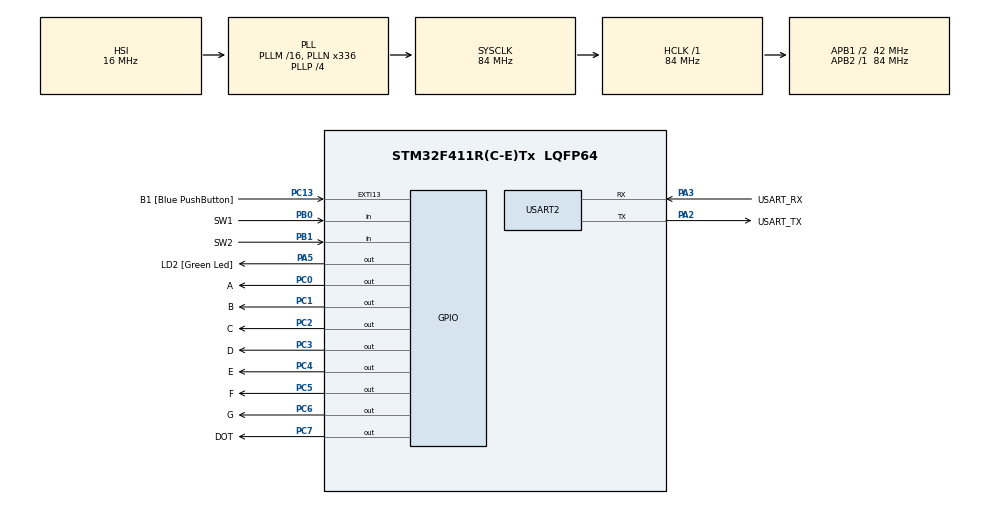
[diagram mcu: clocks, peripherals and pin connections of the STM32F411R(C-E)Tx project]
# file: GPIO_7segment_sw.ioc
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Mcu.Family=STM32F4
Mcu.Name=STM32F411R(C-E)Tx
Mcu.Package=LQFP64
NVIC.PriorityGroup=NVIC_PRIORITYGROUP_0
PA13.GPIO_Label=TMS
PA13.Mode=Serial_Wire
PA13.Signal=SYS_JTMS-SWDIO
PA14.GPIO_Label=TCK
PA14.Mode=Serial_Wire
PA14.Signal=SYS_JTCK-SWCLK
PA2.GPIO_Label=USART_TX
PA2.Mode=Asynchronous
PA2.Signal=USART2_TX
PA3.GPIO_Label=USART_RX
PA3.Mode=Asynchronous
PA3.Signal=USART2_RX
PA5.GPIO_Label=LD2 [Green Led]
PA5.Signal=GPIO_Output
PB0.GPIO_Label=SW1
PB0.Signal=GPIO_Input
PB1.GPIO_Label=SW2
PB1.Signal=GPIO_Input
PB3.GPIO_Label=SWO
PB3.Signal=SYS_JTDO-SWO
PC0.GPIO_Label=A
PC0.Signal=GPIO_Output
PC1.GPIO_Label=B
PC1.Signal=GPIO_Output
PC13-ANTI_TAMP.GPIO_Label=B1 [Blue PushButton]
PC13-ANTI_TAMP.GPIO_ModeDefaultEXTI=GPIO_MODE_IT_FALLING
PC13-ANTI_TAMP.Signal=GPXTI13
PC14-OSC32_IN.Mode=LSE-External-Oscillator
PC14-OSC32_IN.Signal=RCC_OSC32_IN
PC15-OSC32_OUT.Mode=LSE-External-Oscillator
PC15-OSC32_OUT.Signal=RCC_OSC32_OUT
PC2.GPIO_Label=C
PC2.Signal=GPIO_Output
PC3.GPIO_Label=D
PC3.Signal=GPIO_Output
PC4.GPIO_Label=E
PC4.Signal=GPIO_Output
PC5.GPIO_Label=F
PC5.Signal=GPIO_Output
PC6.GPIO_Label=G
PC6.Signal=GPIO_Output
PC7.GPIO_Label=DOT
PC7.Signal=GPIO_Output
PH0\ -\ OSC_IN.Mode=HSE-External-Clock-Source
PH0\ -\ OSC_IN.Signal=RCC_OSC_IN
PH1\ -\ OSC_OUT.Mode=HSE-External-Clock-Source
PH1\ -\ OSC_OUT.Signal=RCC_OSC_OUT
ProjectManager.HeapSize=0x200
ProjectManager.StackSize=0x400
ProjectManager.TargetToolchain=STM32CubeIDE
RCC.48MHZClocksFreq_Value=84000000
RCC.AHBFreq_Value=84000000
RCC.APB1CLKDivider=RCC_HCLK_DIV2
RCC.APB1Freq_Value=42000000
RCC.APB1TimFreq_Value=84000000
RCC.APB2Freq_Value=84000000
RCC.APB2TimFreq_Value=84000000
RCC.CortexFreq_Value=84000000
RCC.FLatency-AdvancedSettings=FLASH_LATENCY_2
RCC.HCLKFreq_Value=84000000
RCC.HSE_VALUE=8000000
RCC.HSI_VALUE=16000000
RCC.PLLN=336
RCC.PLLP=RCC_PLLP_DIV4
RCC.SYSCLKFreq_VALUE=84000000
RCC.SYSCLKSource=RCC_SYSCLKSOURCE_PLLCLK
RCC.VCOOutputFreq_Value=336000000
USART2.VirtualMode=VM_ASYNC
board=NUCLEO-F411RE

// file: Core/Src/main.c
/* USER CODE BEGIN Header */
/**
  ******************************************************************************
  * @file           : main.c
  * @brief          : Main program body
  ******************************************************************************
  * @attention
  *
  * Copyright (c) 2025 STMicroelectronics.
  * All rights reserved.
  *
  * This software is licensed under terms that can be found in the LICENSE file
  * in the root directory of this software component.
  * If no LICENSE file comes with this software, it is provided AS-IS.
  *
  ******************************************************************************
  */
/* USER CODE END Header */
#include "main.h"

UART_HandleTypeDef huart2;

void SystemClock_Config(void);
static void MX_GPIO_Init(void);
static void MX_USART2_UART_Init(void);
/* USER CODE BEGIN PFP */
void ZeroToNine(void);
void NineToZero(void);
/* USER CODE END PFP */

int main(void)
{

  /* MCU Configuration--------------------------------------------------------*/

  /* Reset of all peripherals, Initializes the Flash interface and the Systick. */
  HAL_Init();

  /* Configure the system clock */
  SystemClock_Config();

  /* Initialize all configured peripherals */
  MX_GPIO_Init();
  MX_USART2_UART_Init();

  /* Infinite loop */
  /* USER CODE BEGIN WHILE */
  while (1)
  {
	  if(HAL_GPIO_ReadPin(GPIOB, SW1_Pin)==GPIO_PIN_SET)
		  ZeroToNine();
	  else if(HAL_GPIO_ReadPin(GPIOB, SW2_Pin)==GPIO_PIN_SET)
		  NineToZero();
	  else
		  HAL_GPIO_WritePin(GPIOC, A_Pin | B_Pin | C_Pin | D_Pin | E_Pin | F_Pin | G_Pin | DOT_Pin, GPIO_PIN_RESET);
    /* USER CODE END WHILE */

  }
}

void SystemClock_Config(void)
{
  RCC_OscInitTypeDef RCC_OscInitStruct = {0};
  RCC_ClkInitTypeDef RCC_ClkInitStruct = {0};

  /** Configure the main internal regulator output voltage
  */
  __HAL_RCC_PWR_CLK_ENABLE();
  __HAL_PWR_VOLTAGESCALING_CONFIG(PWR_REGULATOR_VOLTAGE_SCALE1);

  /** Initializes the RCC Oscillators according to the specified parameters
  * in the RCC_OscInitTypeDef structure.
  */
  RCC_OscInitStruct.OscillatorType = RCC_OSCILLATORTYPE_HSI;
  RCC_OscInitStruct.HSIState = RCC_HSI_ON;
  RCC_OscInitStruct.HSICalibrationValue = RCC_HSICALIBRATION_DEFAULT;
  RCC_OscInitStruct.PLL.PLLState = RCC_PLL_ON;
  RCC_OscInitStruct.PLL.PLLSource = RCC_PLLSOURCE_HSI;
  RCC_OscInitStruct.PLL.PLLM = 16;
  RCC_OscInitStruct.PLL.PLLN = 336;
  RCC_OscInitStruct.PLL.PLLP = RCC_PLLP_DIV4;
  RCC_OscInitStruct.PLL.PLLQ = 4;
  if (HAL_RCC_OscConfig(&RCC_OscInitStruct) != HAL_OK)
  {
    Error_Handler();
  }

  /** Initializes the CPU, AHB and APB buses clocks
  */
  RCC_ClkInitStruct.ClockType = RCC_CLOCKTYPE_HCLK|RCC_CLOCKTYPE_SYSCLK
                              |RCC_CLOCKTYPE_PCLK1|RCC_CLOCKTYPE_PCLK2;
  RCC_ClkInitStruct.SYSCLKSource = RCC_SYSCLKSOURCE_PLLCLK;
  RCC_ClkInitStruct.AHBCLKDivider = RCC_SYSCLK_DIV1;
  RCC_ClkInitStruct.APB1CLKDivider = RCC_HCLK_DIV2;
  RCC_ClkInitStruct.APB2CLKDivider = RCC_HCLK_DIV1;

  if (HAL_RCC_ClockConfig(&RCC_ClkInitStruct, FLASH_LATENCY_2) != HAL_OK)
  {
    Error_Handler();
  }
}

static void MX_USART2_UART_Init(void)
{

  huart2.Instance = USART2;
  huart2.Init.BaudRate = 115200;
  huart2.Init.WordLength = UART_WORDLENGTH_8B;
  huart2.Init.StopBits = UART_STOPBITS_1;
  huart2.Init.Parity = UART_PARITY_NONE;
  huart2.Init.Mode = UART_MODE_TX_RX;
  huart2.Init.HwFlowCtl = UART_HWCONTROL_NONE;
  huart2.Init.OverSampling = UART_OVERSAMPLING_16;
  if (HAL_UART_Init(&huart2) != HAL_OK)
  {
    Error_Handler();
  }

}

static void MX_GPIO_Init(void)
{
  GPIO_InitTypeDef GPIO_InitStruct = {0};

  /* GPIO Ports Clock Enable */
  __HAL_RCC_GPIOC_CLK_ENABLE();
  __HAL_RCC_GPIOH_CLK_ENABLE();
  __HAL_RCC_GPIOA_CLK_ENABLE();
  __HAL_RCC_GPIOB_CLK_ENABLE();

  /*Configure GPIO pin Output Level */
  HAL_GPIO_WritePin(GPIOC, A_Pin|B_Pin|C_Pin|D_Pin
                          |E_Pin|F_Pin|G_Pin|DOT_Pin, GPIO_PIN_RESET);

  /*Configure GPIO pin Output Level */
  HAL_GPIO_WritePin(LD2_GPIO_Port, LD2_Pin, GPIO_PIN_RESET);

  /*Configure GPIO pin : B1_Pin */
  GPIO_InitStruct.Pin = B1_Pin;
  GPIO_InitStruct.Mode = GPIO_MODE_IT_FALLING;
  GPIO_InitStruct.Pull = GPIO_NOPULL;
  HAL_GPIO_Init(B1_GPIO_Port, &GPIO_InitStruct);

  /*Configure GPIO pins : A_Pin B_Pin C_Pin D_Pin
                           E_Pin F_Pin G_Pin DOT_Pin */
  GPIO_InitStruct.Pin = A_Pin|B_Pin|C_Pin|D_Pin
                          |E_Pin|F_Pin|G_Pin|DOT_Pin;
  GPIO_InitStruct.Mode = GPIO_MODE_OUTPUT_PP;
  GPIO_InitStruct.Pull = GPIO_NOPULL;
  GPIO_InitStruct.Speed = GPIO_SPEED_FREQ_LOW;
  HAL_GPIO_Init(GPIOC, &GPIO_InitStruct);

  /*Configure GPIO pin : LD2_Pin */
  GPIO_InitStruct.Pin = LD2_Pin;
  GPIO_InitStruct.Mode = GPIO_MODE_OUTPUT_PP;
  GPIO_InitStruct.Pull = GPIO_NOPULL;
  GPIO_InitStruct.Speed = GPIO_SPEED_FREQ_LOW;
  HAL_GPIO_Init(LD2_GPIO_Port, &GPIO_InitStruct);

  /*Configure GPIO pins : SW1_Pin SW2_Pin */
  GPIO_InitStruct.Pin = SW1_Pin|SW2_Pin;
  GPIO_InitStruct.Mode = GPIO_MODE_INPUT;
  GPIO_InitStruct.Pull = GPIO_NOPULL;
  HAL_GPIO_Init(GPIOB, &GPIO_InitStruct);

}

/* USER CODE BEGIN 4 */
void ZeroToNine(void)
{
	  //0 Display
	  HAL_GPIO_WritePin(GPIOC, A_Pin | B_Pin | C_Pin | D_Pin | E_Pin | F_Pin | G_Pin | DOT_Pin, GPIO_PIN_RESET);
	  HAL_GPIO_WritePin(GPIOC, A_Pin | B_Pin | C_Pin | D_Pin | E_Pin | F_Pin, GPIO_PIN_SET);
	  HAL_Delay(1000);
	  //1 Display
	  HAL_GPIO_WritePin(GPIOC, A_Pin | B_Pin | C_Pin | D_Pin | E_Pin | F_Pin | G_Pin | DOT_Pin, GPIO_PIN_RESET);
	  HAL_GPIO_WritePin(GPIOC, B_Pin | C_Pin, GPIO_PIN_SET);
	  HAL_Delay(1000);
	  //2 Display
	  HAL_GPIO_WritePin(GPIOC, A_Pin | B_Pin | C_Pin | D_Pin | E_Pin | F_Pin | G_Pin | DOT_Pin, GPIO_PIN_RESET);
	  HAL_GPIO_WritePin(GPIOC, A_Pin | B_Pin | D_Pin | E_Pin | G_Pin, GPIO_PIN_SET);
	  HAL_Delay(1000);
	  //3 Display
	  HAL_GPIO_WritePin(GPIOC, A_Pin | B_Pin | C_Pin | D_Pin | E_Pin | F_Pin | G_Pin | DOT_Pin, GPIO_PIN_RESET);
	  HAL_GPIO_WritePin(GPIOC, A_Pin | B_Pin | C_Pin | D_Pin | G_Pin, GPIO_PIN_SET);
	  HAL_Delay(1000);
	  //4 Display
	  HAL_GPIO_WritePin(GPIOC, A_Pin | B_Pin | C_Pin | D_Pin | E_Pin | F_Pin | G_Pin | DOT_Pin, GPIO_PIN_RESET);
	  HAL_GPIO_WritePin(GPIOC, B_Pin | C_Pin | F_Pin | G_Pin, GPIO_PIN_SET);
	  HAL_Delay(1000);
	  //5 Display
	  HAL_GPIO_WritePin(GPIOC, A_Pin | B_Pin | C_Pin | D_Pin | E_Pin | F_Pin | G_Pin | DOT_Pin, GPIO_PIN_RESET);
	  HAL_GPIO_WritePin(GPIOC, A_Pin | C_Pin | D_Pin | F_Pin | G_Pin, GPIO_PIN_SET);
	  HAL_Delay(1000);
	  //6 Display
	  HAL_GPIO_WritePin(GPIOC, A_Pin | B_Pin | C_Pin | D_Pin | E_Pin | F_Pin | G_Pin | DOT_Pin, GPIO_PIN_RESET);
	  HAL_GPIO_WritePin(GPIOC, A_Pin | C_Pin | D_Pin | E_Pin | F_Pin | G_Pin, GPIO_PIN_SET);
	  HAL_Delay(1000);
	  //7 Display
	  HAL_GPIO_WritePin(GPIOC, A_Pin | B_Pin | C_Pin | D_Pin | E_Pin | F_Pin | G_Pin | DOT_Pin, GPIO_PIN_RESET);
	  HAL_GPIO_WritePin(GPIOC, A_Pin | B_Pin | C_Pin, GPIO_PIN_SET);
	  HAL_Delay(1000);
	  //8 Display
	  HAL_GPIO_WritePin(GPIOC, A_Pin | B_Pin | C_Pin | D_Pin | E_Pin | F_Pin | G_Pin | DOT_Pin, GPIO_PIN_RESET);
	  HAL_GPIO_WritePin(GPIOC, A_Pin | B_Pin | C_Pin | D_Pin | E_Pin | F_Pin | G_Pin, GPIO_PIN_SET);
	  HAL_Delay(1000);
	  //9 Display
	  HAL_GPIO_WritePin(GPIOC, A_Pin | B_Pin | C_Pin | D_Pin | E_Pin | F_Pin | G_Pin | DOT_Pin, GPIO_PIN_RESET);
	  HAL_GPIO_WritePin(GPIOC, A_Pin | B_Pin | C_Pin | F_Pin | G_Pin, GPIO_PIN_SET);
	  HAL_Delay(1000);
}

void NineToZero(void)
{
	  //9 Display
	  HAL_GPIO_WritePin(GPIOC, A_Pin | B_Pin | C_Pin | D_Pin | E_Pin | F_Pin | G_Pin | DOT_Pin, GPIO_PIN_RESET);
	  HAL_GPIO_WritePin(GPIOC, A_Pin | B_Pin | C_Pin | F_Pin | G_Pin, GPIO_PIN_SET);
	  HAL_Delay(1000);
	  //8 Display
	  HAL_GPIO_WritePin(GPIOC, A_Pin | B_Pin | C_Pin | D_Pin | E_Pin | F_Pin | G_Pin | DOT_Pin, GPIO_PIN_RESET);
	  HAL_GPIO_WritePin(GPIOC, A_Pin | B_Pin | C_Pin | D_Pin | E_Pin | F_Pin | G_Pin, GPIO_PIN_SET);
	  HAL_Delay(1000);
	  //7 Display
	  HAL_GPIO_WritePin(GPIOC, A_Pin | B_Pin | C_Pin | D_Pin | E_Pin | F_Pin | G_Pin | DOT_Pin, GPIO_PIN_RESET);
	  HAL_GPIO_WritePin(GPIOC, A_Pin | B_Pin | C_Pin, GPIO_PIN_SET);
	  HAL_Delay(1000);
	  //6 Display
	  HAL_GPIO_WritePin(GPIOC, A_Pin | B_Pin | C_Pin | D_Pin | E_Pin | F_Pin | G_Pin | DOT_Pin, GPIO_PIN_RESET);
	  HAL_GPIO_WritePin(GPIOC, A_Pin | C_Pin | D_Pin | E_Pin | F_Pin | G_Pin, GPIO_PIN_SET);
	  HAL_Delay(1000);
	  //5 Display
	  HAL_GPIO_WritePin(GPIOC, A_Pin | B_Pin | C_Pin | D_Pin | E_Pin | F_Pin | G_Pin | DOT_Pin, GPIO_PIN_RESET);
	  HAL_GPIO_WritePin(GPIOC, A_Pin | C_Pin | D_Pin | F_Pin | G_Pin, GPIO_PIN_SET);
	  HAL_Delay(1000);
	  //4 Display
	  HAL_GPIO_WritePin(GPIOC, A_Pin | B_Pin | C_Pin | D_Pin | E_Pin | F_Pin | G_Pin | DOT_Pin, GPIO_PIN_RESET);
	  HAL_GPIO_WritePin(GPIOC, B_Pin | C_Pin | F_Pin | G_Pin, GPIO_PIN_SET);
	  HAL_Delay(1000);
	  //3 Display
	  HAL_GPIO_WritePin(GPIOC, A_Pin | B_Pin | C_Pin | D_Pin | E_Pin | F_Pin | G_Pin | DOT_Pin, GPIO_PIN_RESET);
	  HAL_GPIO_WritePin(GPIOC, A_Pin | B_Pin | C_Pin | D_Pin | G_Pin, GPIO_PIN_SET);
	  HAL_Delay(1000);
	  //2 Display
	  HAL_GPIO_WritePin(GPIOC, A_Pin | B_Pin | C_Pin | D_Pin | E_Pin | F_Pin | G_Pin | DOT_Pin, GPIO_PIN_RESET);
	  HAL_GPIO_WritePin(GPIOC, A_Pin | B_Pin | D_Pin | E_Pin | G_Pin, GPIO_PIN_SET);
	  HAL_Delay(1000);
	  //1 Display
	  HAL_GPIO_WritePin(GPIOC, A_Pin | B_Pin | C_Pin | D_Pin | E_Pin | F_Pin | G_Pin | DOT_Pin, GPIO_PIN_RESET);
	  HAL_GPIO_WritePin(GPIOC, B_Pin | C_Pin, GPIO_PIN_SET);
	  HAL_Delay(1000);
	  //0 Display
	  HAL_GPIO_WritePin(GPIOC, A_Pin | B_Pin | C_Pin | D_Pin | E_Pin | F_Pin | G_Pin | DOT_Pin, GPIO_PIN_RESET);
	  HAL_GPIO_WritePin(GPIOC, A_Pin | B_Pin | C_Pin | D_Pin | E_Pin | F_Pin, GPIO_PIN_SET);
	  HAL_Delay(1000);
}
/* USER CODE END 4 */

void Error_Handler(void)
{
  __disable_irq();
  while (1)
  {
  }
}
